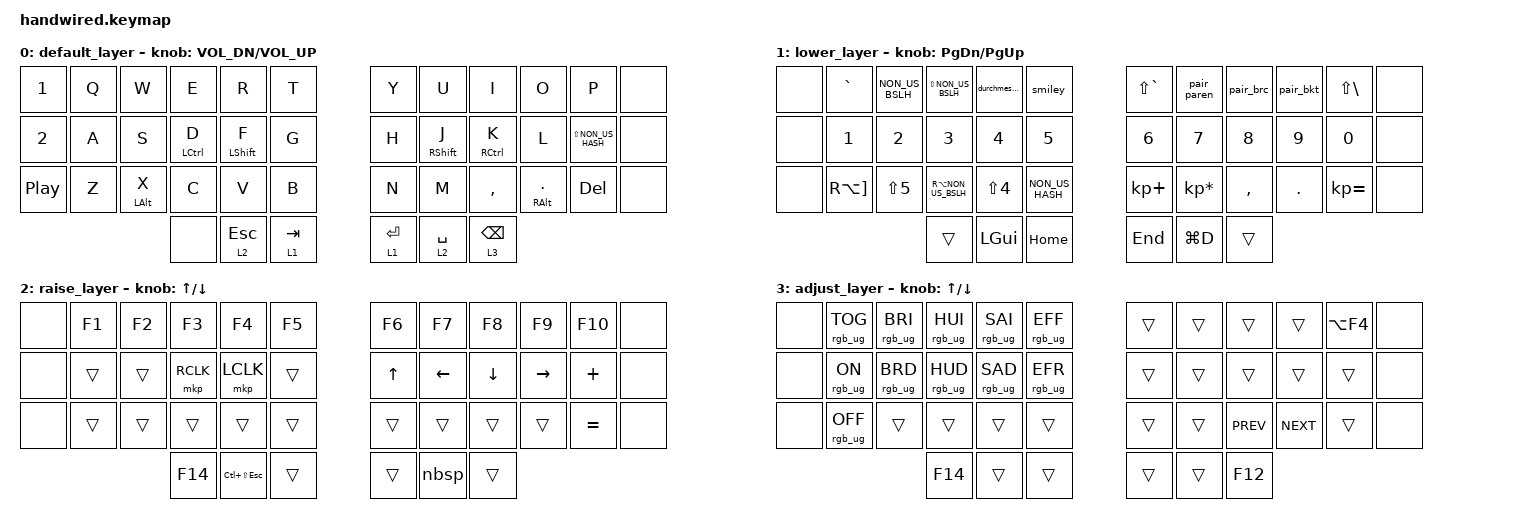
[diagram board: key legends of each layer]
#include <behaviors.dtsi>
#include <dt-bindings/zmk/keys.h>
#include <dt-bindings/zmk/pointing.h>
#include <dt-bindings/zmk/rgb.h>

/ {
    // --- DIESER BLOCK HAT GEFEHLT ---
    macros {
 
        pair_paren: pair_paren {
            compatible = "zmk,behavior-macro";
            #binding-cells = <0>;
            wait-ms = <10>; tap-ms = <10>;
            bindings = <&kp LS(N8)>, <&kp LS(N9)>, <&kp LEFT>;
        };

        pair_brc: pair_brc {
            compatible = "zmk,behavior-macro";
            #binding-cells = <0>;
            wait-ms = <10>; tap-ms = <10>;
            bindings = <&kp RA(N7)>, <&kp RA(N0)>, <&kp LEFT>;
        };

        pair_bkt: pair_bkt {
            compatible = "zmk,behavior-macro";
            #binding-cells = <0>;
            wait-ms = <10>; tap-ms = <10>;
            bindings = <&kp RA(N8)>, <&kp RA(N9)>, <&kp LEFT>;
        };

        durchmesser: durchmesser { 
            compatible = "zmk,behavior-macro"; 
            #binding-cells = <0>; 
            bindings = <&macro_press &kp LALT>, <&macro_tap &kp KP_N0 &kp KP_N2 &kp KP_N4 &kp KP_N8>, <&macro_release &kp LALT>; 
        };

        smiley: smiley { 
            compatible = "zmk,behavior-macro";
            #binding-cells = <0>; wait-ms = <20>; 
            tap-ms = <20>; 
            bindings = <&macro_press &kp LSHFT>, <&macro_tap &kp COMMA>, <&macro_release &kp LSHFT>, <&macro_tap &kp SLASH>, <&macro_press &kp LSHFT>, <&macro_tap &kp N9>, <&macro_release &kp LSHFT>; 
        };

        nbsp: nbsp { 
            compatible = "zmk,behavior-macro"; 
            #binding-cells = <0>; wait-ms = <30>; 
            tap-ms = <30>; 
            bindings = <&macro_press &kp LALT>, <&macro_tap &kp KP_N0 &kp KP_N1 &kp KP_N6 &kp KP_N0>, <&macro_release &kp LALT>; 
        };

    }; 
    // --- ENDE DES MAKRO BLOCKS ---

    behaviors {
        caps_wrd: caps_wrd {
            compatible = "zmk,behavior-caps-word";
            #binding-cells = <0>;
            continue-list = <POUND BACKSPACE DEL MINUS UNDERSCORE>; 
        };

        hrm_safe: hrm_safe { 
            compatible = "zmk,behavior-hold-tap"; 
            #binding-cells = <2>; 
            tapping-term-ms = <280>; 
            quick-tap-ms = <175>; 
            flavor = "balanced"; 
            require-prior-idle-ms = <150>; 
            bindings = <&kp>, <&kp>; 
            hold-trigger-on-release; 
        };

        hrm_shift: hrm_shift {
            compatible = "zmk,behavior-hold-tap"; 
            #binding-cells = <2>;
            tapping-term-ms = <200>;         // Etwas mehr Puffer
            quick-tap-ms = <125>;            // Deutlich unter tapping-term
            flavor = "tap-unless-interrupted"; // Reagiert sofort bei Tastenkombinationen
            bindings = <&kp>, <&kp>; 
            hold-trigger-on-release; 
        };

        lt_hp: lt_hp {
            compatible = "zmk,behavior-hold-tap"; 
            #binding-cells = <2>; 
            tapping-term-ms = <200>; 
            quick-tap-ms = <200>;
            flavor = "balanced";
            retro-tap;
            bindings = <&mo>, <&kp>; 
        };

        hw_scroll: hw_scroll {
            compatible = "zmk,behavior-sensor-rotate-var";
            #sensor-binding-cells = <2>;
            bindings = <&msc>, <&msc>; 
            tap-ms = <20>;
        };

    }; 

     combos {
        compatible = "zmk,combos";

        // 150ms Pause nach dem letzten Tippen erforderlich (Sicherheit)
        require-prior-idle-ms = <150>; 

        #if 0

        // Pos 1: Col 0 (P0.10) + Row 0 & 2 -> Combo Index 0 & 24
        combo_bt0 {
            timeout-ms = <100>;
            key-positions = <0 24>;
            bindings = <&bt BT_SEL 0>;
        };

        // Pos 2: Col 1 (P0.09) + Row 0 & 2 -> Q + Y (Index 1 & 25)
        combo_bt1 {
            timeout-ms = <100>;
            key-positions = <1 25>;
            bindings = <&bt BT_SEL 1>;
        };

        // Pos 3: Col 2 (P1.11) + Row 0 & 2 -> W + X (Index 2 & 26)
        combo_bt2 {
            timeout-ms = <100>;
            key-positions = <2 26>;
            bindings = <&bt BT_SEL 2>;
        };

        // Pos 4: Col 3 (P1.13) + Row 0 & 2 -> E + C (Index 3 & 27)
        combo_usb {
            timeout-ms = <100>;
            key-positions = <3 27>;
            bindings = <&out OUT_USB>;
        };

        #endif

        // ! (E + D) - Vertikal Mittelfinger
        combo_excl {
            timeout-ms = <40>;
            key-positions = <3 15>;
            bindings = <&kp LS(N1)>;
            layers = <0 1>;
        };

        // Doppelpunkt (:) auf , und .
        combo_colon {
            timeout-ms = <50>;
            key-positions = <32 33>; // Positionen für COMMA und DOT auf dem Corne
            bindings = <&kp LS(DOT)>;
            layers = <0 1>;
        };

        // CREO: Ctrl+Alt auf X und C (Links unten)
        combo_creo_mod {
            timeout-ms = <50>;
            key-positions = <26 27>; // X=26, C=27
            bindings = <&kp LC(LALT)>;
            layers = <0>;
        };

        // Backslash (\) auf K und L
        combo_backslash {
            timeout-ms = <40>;
            key-positions = <20 21>; // K=20, L=21
            bindings = <&kp RA(MINUS)>; // AltGr + ß ergibt \ im DE-Layout
            layers = <0 1>;
        };

        // Slash (/) auf S und D
        combo_slash {
            timeout-ms = <40>;
            key-positions = <14 15>; // K=20, L=21
            bindings = <&kp KP_DIVIDE>;
            layers = <0 1>;
        };

        // Minus/Bindestrich (-) für DE-Layout auf L und SLASH
        combo_minus {
            timeout-ms = <50>;
            key-positions = <21 22>; // L=21, SLASH=22
            bindings = <&kp SLASH>;  // Schickt den Code für die Taste rechts neben dem Punkt (DE: -)
            layers = <0 1>;
        };

        // Unterstrich (_) auf A und S (Links)
        combo_underscore {
            timeout-ms = <40>;
            key-positions = <13 14>; // A=13, S=14
            bindings = <&kp LS(SLASH)>; // Ergibt im DE-Layout den Unterstrich (_)
            layers = <0 1>;
        };

        // Caps Word auf beiden Shift-Tasten (F und J)
        combo_caps_word {
            timeout-ms = <40>;
            key-positions = <16 19>; // F=16, J=19
            bindings = <&caps_wrd>;
            layers = <0>;
        };
        
        // Gänsefüßchen (") auf D und F
        combo_quote {
            timeout-ms = <50>;
            key-positions = <15 16>; // D und F
            bindings = <&kp LS(N2)>; // In DE-Layout meist LS(2) für "
            layers = <0 1>;
        };

        // Fragezeichen (?) auf J und K
        combo_question {
            timeout-ms = <50>;
            key-positions = <19 20>; // J und K
            bindings = <&kp LS(MINUS)>; // In DE-Layout meist LS(_) für ?
            layers = <0 1>;
        };
       
        // Ä (A + Q) - Vertikal linker pinkie
        combo_ae {
            timeout-ms = <55>;
            key-positions = <1 13>; // A=13, Q=1
            bindings = <&kp SQT>;
            layers = <0>;
        };

        // Ö (O + L) - Vertikal rechter Ringfinger
        combo_oe {
            timeout-ms = <50>;
            key-positions = <9 21>; // O=9, L=21
            bindings = <&kp SEMI>;
            layers = <0>;
        };

        // Ü (U + J) - Vertikal rechter Zeigefinger
        combo_ue {
            timeout-ms = <50>;
            key-positions = <7 19>; // U=7, J=19
            bindings = <&kp LBKT>;
            layers = <0>;
        };

        // ß (W + S) - Vertikal nach oben (Linker Ringfinger)
        combo_ss {
            timeout-ms = <50>;
            key-positions = <2 14>; // W=2, S=14
            bindings = <&kp MINUS>;
            layers = <0>;
        };
    };

    keymap {
        compatible = "zmk,keymap";
        default_layer {
            sensor-bindings = <&inc_dec_kp C_VOL_DN C_VOL_UP>;
            bindings = <
&kp N1  &kp Q  &kp W             &kp E              &kp R                &kp T                &kp Y       &kp U                 &kp I               &kp O                &kp P                &none
&kp N2  &kp A  &kp S             &hrm_safe LCTRL D  &hrm_shift LSHIFT F  &kp G                &kp H       &hrm_shift RSHIFT J   &hrm_safe RCTRL K   &kp L                &kp LS(NON_US_HASH)  &none
&kp C_PP  &kp Z  &hrm_safe LALT X  &kp C              &kp V                &kp B                &kp N       &kp M                 &kp COMMA           &hrm_safe RALT DOT   &kp DEL              &none
                                 &none              &lt 2 ESC            &lt 1 TAB            &lt 1 RET   &lt_hp 2 SPACE        &lt_hp 3 BSPC
            >;
        };

        lower_layer {
            sensor-bindings = <&inc_dec_kp PG_DN PG_UP>;
            bindings = <
&none  &kp GRAVE     &kp NON_US_BSLH  &kp LS(NON_US_BSLH)  &durchmesser  &smiley             &kp LS(GRAVE) &pair_paren      &pair_brc    &pair_bkt   &kp LS(BSLH)  &none
&none  &kp N1        &kp N2           &kp N3               &kp N4        &kp N5              &kp N6        &kp N7           &kp N8       &kp N9      &kp N0        &none
&none  &kp RA(RBKT)  &kp LS(N5)       &kp RA(NON_US_BSLH)  &kp LS(N4)    &kp NON_US_HASH     &kp KP_PLUS   &kp KP_MULTIPLY  &kp COMMA    &kp DOT     &kp KP_EQUAL  &none
                                      &trans  &kp LGUI      &kp HOME            &kp END       &kp LG(D)        &trans
            >;
        };

        raise_layer {
            sensor-bindings = <&inc_dec_kp UP DOWN>;
            bindings = <
&none  &kp F1        &kp F2           &kp F3               &kp F4           &kp F5           &kp F6       &kp F7        &kp F8      &kp F9     &kp F10       &none
&none  &trans        &trans           &mkp RCLK            &mkp LCLK        &trans           &kp UP       &kp LEFT      &kp DOWN    &kp RIGHT  &kp PLUS      &none
&none  &trans        &trans           &trans               &trans           &trans           &trans       &trans        &trans      &trans     &kp EQUAL     &none
                                      &kp F14              &kp LC(LS(ESC))  &trans           &trans       &nbsp         &trans
            >;
        };

        adjust_layer {
            sensor-bindings = <&inc_dec_kp UP DOWN>;
           bindings = <
&none  &rgb_ug RGB_TOG  &rgb_ug RGB_BRI  &rgb_ug RGB_HUI  &rgb_ug RGB_SAI  &rgb_ug RGB_EFF     &trans  &trans  &trans       &trans      &kp LA(F4)  &none
&none  &rgb_ug RGB_ON   &rgb_ug RGB_BRD  &rgb_ug RGB_HUD  &rgb_ug RGB_SAD  &rgb_ug RGB_EFR     &trans  &trans  &trans       &trans      &trans      &none
&none  &rgb_ug RGB_OFF  &trans           &trans           &trans           &trans              &trans  &trans  &kp C_PREV   &kp C_NEXT  &trans      &none
                                         &kp F14          &trans           &trans              &trans  &trans  &kp F12
            >;
        };
    };
};
